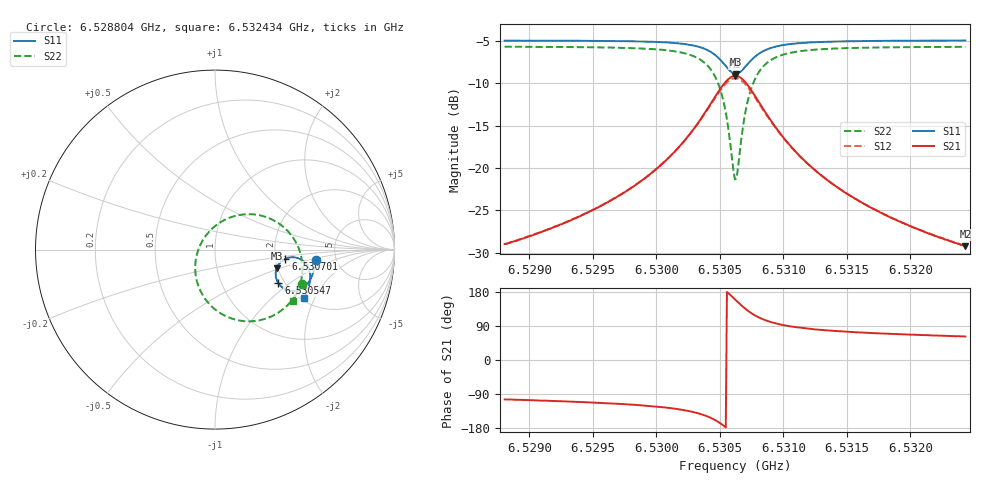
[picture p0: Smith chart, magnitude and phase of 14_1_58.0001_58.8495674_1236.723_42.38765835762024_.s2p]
#  HZ  S  RI  R  50.00
! Rohde & Schwarz Vector Network Analyzer
! Rohde-Schwarz,ZNB20-2Port,1311601062101988,3.16
! Created: UTC 3/21/2024, 12:50:54 AM
! freq[Hz]  re:S11  im:S11  re:S21  im:S21  re:S12  im:S12  re:S22  im:S22
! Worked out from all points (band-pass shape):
!   401 points, 6.528804 GHz to 6.532434 GHz, reference 50 ohm
!   highest |S21| = -9.13 dB at 6.530619 GHz (marker M1); lowest = -29.2 dB at 6.532434 GHz (marker M2)
!   |S21| within 3 dB of the highest: 6.53044 GHz to 6.530803 GHz (363.3 kHz wide, 0.00556 % of centre)
!   lowest |S11| = -8.9 dB at 6.530628 GHz (marker M3), VSWR 2.12, Z = 98.4 - j23.7 ohm
!   |S11| at or under -10 dB: nowhere
!   |S22| runs from -21.4 to -5.7 dB; largest |S21 - S12| = 0.015
!   S11 on the Smith chart (normalised r, x): 6.528804 GHz: 3.48, -0.60; 6.530547 GHz: 1.85, -0.82; 6.530701 GHz: 2.27, -0.27; 6.532434 GHz: 2.10, -1.65
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6.5288043e9  0.5611 -0.0584  -0.0086 -0.0345  -0.00937 -0.0342  0.4826 -0.1918
6.5294123e9  0.5517 -0.1114  -0.0188 -0.049  -0.02 -0.0487  0.4497 -0.2535
6.529739e9  0.5413 -0.144  -0.0315 -0.0636  -0.0333 -0.0629  0.4166 -0.2967
6.5300203e9  0.5241 -0.1779  -0.0562 -0.0847  -0.0587 -0.083  0.3612 -0.3455
6.5302381e9  0.4939 -0.2102  -0.1034 -0.1087  -0.1068 -0.1047  0.2658 -0.3896
6.5303923e9  0.4441 -0.23  -0.1836 -0.1162  -0.1861 -0.1079  0.1192 -0.3916
6.5304831e9  0.3922 -0.2216  -0.2651 -0.0833  -0.2633 -0.0714  -0.0156 -0.3194
6.5305194e9  0.3685 -0.2058  -0.3005 -0.0489  -0.2952 -0.0366  -0.0682 -0.254
6.5305466e9  0.3528 -0.1871  -0.3226 -0.0122  -0.3144 -0.000481  -0.0975 -0.1881
6.530601e9  0.3379 -0.1342  -0.3367 0.0847  -0.3235 0.0913  -0.1006 -0.0257
6.5306192e9  0.3403 -0.1147  -0.3284 0.1193  -0.3148 0.1233  -0.0805 0.029
6.5306283e9  0.3432 -0.105  -0.3218 0.1356  -0.3082 0.1385  -0.0666 0.0547
6.5306464e9  0.3516 -0.0873  -0.304 0.166  -0.2909 0.1666  -0.0316 0.1011
6.5307009e9  0.3925 -0.051  -0.2273 0.2261  -0.2183 0.2221  0.1052 0.1856
6.5307372e9  0.4229 -0.0429  -0.1736 0.2387  -0.1675 0.2342  0.197 0.1973
6.5307735e9  0.4495 -0.0442  -0.1274 0.2365  -0.1232 0.2322  0.2745 0.1846
6.5308914e9  0.5023 -0.074  -0.0382 0.1916  -0.0367 0.1897  0.419 0.0881
6.5310185e9  0.5232 -0.1079  -0.00241 0.1454  -0.00133 0.1446  0.4708 -0.00515
6.5312272e9  0.5308 -0.1485  0.0145 0.099  0.0158 0.0988  0.4872 -0.1013
6.5314994e9  0.5275 -0.1848  0.0187 0.0681  0.0195 0.0678  0.4797 -0.1722
6.5318352e9  0.5184 -0.2189  0.0183 0.048  0.0192 0.0478  0.4631 -0.2255
6.5324341e9  0.4981 -0.2677  0.0162 0.0305  0.0168 0.0303  0.4321 -0.2867
